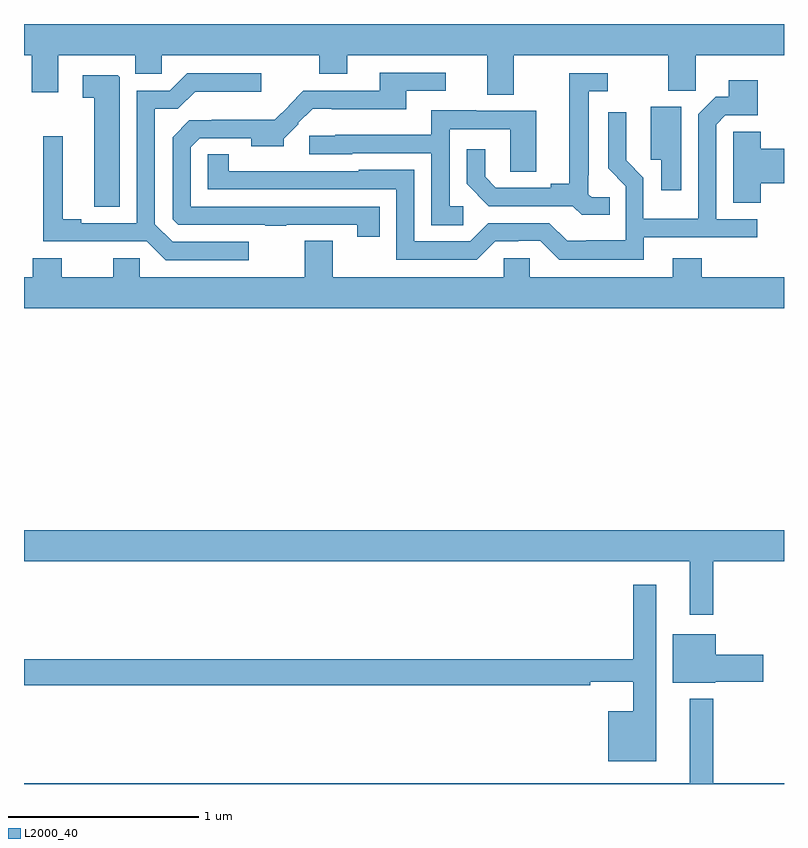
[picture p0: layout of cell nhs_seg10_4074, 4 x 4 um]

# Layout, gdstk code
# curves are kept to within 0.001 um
import gdstk
lib = gdstk.Library(unit=1e-6, precision=1e-09)
def P(c, l, *ps):  # polygons
    for p in ps: c.add(gdstk.Polygon(p, *l))
L2000_40 = (2000, 40)

nhs_seg10_4074 = lib.new_cell('nhs_seg10_4074')
P(nhs_seg10_4074, L2000_40, [(339.577,1280.336),(340.39,1280.336),(340.39,1280.149),(340.536,1280.149),(340.536,1280.336),(341,1280.336),(341,1280.5),(337,1280.5),(337,1280.336),(337.04,1280.336),(337.04,1280.142),(337.18,1280.142),(337.18,1280.336),(337.586,1280.336),(337.586,1280.238),(337.725,1280.238),(337.725,1280.336),(338.554,1280.336),(338.554,1280.237),(338.701,1280.237),(338.701,1280.336),(339.437,1280.336),(339.437,1280.128),(339.577,1280.128)],
  [(338.873,1279.539),(337.878,1279.539),(337.878,1279.851),(337.926,1279.899),(338.195,1279.899),(338.195,1279.856),(338.366,1279.856),(338.366,1279.896),(338.445,1279.974),(338.442,1279.977),(338.519,1280.054),(338.62,1280.054),(338.62,1280.051),(339.013,1280.051),(339.013,1280.148),(339.22,1280.148),(339.22,1280.244),(338.873,1280.244),(338.873,1280.148),(338.469,1280.148),(338.393,1280.071),(338.395,1280.069),(338.321,1279.996),(337.987,1279.996),(337.987,1279.994),(337.871,1279.994),(337.782,1279.905),(337.782,1279.473),(337.812,1279.443),(338.269,1279.443),(338.269,1279.438),(338.381,1279.438),(338.381,1279.443),(338.755,1279.443),(338.755,1279.38),(338.873,1279.38)],
  [(340.082,1279.587),(339.987,1279.587),(339.969,1279.605),(339.969,1279.705),(339.973,1279.705),(339.973,1280.145),(340.072,1280.145),(340.072,1280.241),(339.869,1280.241),(339.869,1279.658),(339.773,1279.658),(339.773,1279.638),(339.484,1279.638),(339.427,1279.695),(339.427,1279.84),(339.33,1279.84),(339.33,1279.658),(339.446,1279.542),(339.888,1279.542),(339.936,1279.495),(340.082,1279.495)],
  [(338.182,1279.353),(337.782,1279.353),(337.689,1279.446),(337.689,1280.053),(337.81,1280.053),(337.901,1280.144),(338.248,1280.144),(338.248,1280.241),(337.86,1280.241),(337.767,1280.148),(337.593,1280.148),(337.593,1279.452),(337.3,1279.452),(337.3,1279.472),(337.204,1279.472),(337.204,1279.909),(337.1,1279.909),(337.1,1279.356),(337.646,1279.356),(337.745,1279.257),(338.182,1279.257)],
  [(337.504,1280.219),(337.494,1280.229),(337.308,1280.229),(337.308,1280.113),(337.37,1280.113),(337.37,1279.537),(337.504,1279.537)],
  [(340.261,1279.377),(340.858,1279.377),(340.858,1279.473),(340.644,1279.473),(340.644,1279.971),(340.692,1280.019),(340.862,1280.019),(340.862,1280.203),(340.709,1280.203),(340.709,1280.118),(340.641,1280.118),(340.548,1280.025),(340.548,1279.474),(340.26,1279.474),(340.26,1279.69),(340.169,1279.782),(340.17,1280.035),(340.074,1280.035),(340.074,1279.74),(340.167,1279.647),(340.167,1279.363),(339.958,1279.363),(339.958,1279.359),(339.858,1279.359),(339.765,1279.452),(339.444,1279.452),(339.348,1279.356),(339.054,1279.356),(339.054,1279.732),(338.763,1279.732),(338.763,1279.725),(338.077,1279.726),(338.077,1279.814),(337.968,1279.814),(337.968,1279.629),(338.958,1279.629),(338.958,1279.26),(339.384,1279.26),(339.48,1279.356),(339.6,1279.356),(339.6,1279.359),(339.717,1279.359),(339.817,1279.259),(340.261,1279.259)],
  [(340.459,1280.064),(340.298,1280.064),(340.298,1279.785),(340.355,1279.785),(340.355,1279.626),(340.459,1279.626)],
  [(339.313,1279.542),(339.24,1279.542),(339.24,1279.947),(339.558,1279.947),(339.558,1279.723),(339.697,1279.723),(339.697,1280.043),(339.379,1280.043),(339.379,1280.047),(339.143,1280.047),(339.143,1279.918),(338.637,1279.918),(338.637,1279.911),(338.502,1279.911),(338.502,1279.815),(338.727,1279.815),(338.727,1279.821),(339.144,1279.821),(339.144,1279.441),(339.313,1279.441)],
  [(340.877,1279.661),(341,1279.661),(341,1279.844),(340.877,1279.844),(340.877,1279.934),(340.734,1279.934),(340.734,1279.826),(340.733,1279.826),(340.733,1279.558),(340.877,1279.558)],
  [(341,1279.168),(340.568,1279.168),(340.568,1279.267),(340.415,1279.267),(340.415,1279.168),(339.663,1279.168),(339.663,1279.266),(339.525,1279.266),(339.525,1279.168),(338.625,1279.168),(338.625,1279.358),(338.477,1279.358),(338.477,1279.168),(337.608,1279.168),(337.608,1279.266),(337.469,1279.266),(337.469,1279.168),(337.198,1279.168),(337.198,1279.267),(337.046,1279.267),(337.046,1279.168),(337,1279.168),(337,1279.004),(341,1279.004)],
  [(340.627,1277.672),(341,1277.672),(341,1277.836),(337,1277.836),(337,1277.672),(340.505,1277.672),(340.505,1277.391),(340.627,1277.391)],
  [(340.327,1277.548),(340.206,1277.548),(340.206,1277.156),(337,1277.156),(337,1277.02),(339.98,1277.02),(339.98,1277.039),(340.206,1277.039),(340.206,1276.882),(340.076,1276.882),(340.076,1276.619),(340.327,1276.619)],
  [(340.638,1277.039),(340.891,1277.039),(340.891,1277.181),(340.642,1277.181),(340.642,1277.287),(340.415,1277.287),(340.415,1277.033),(340.638,1277.033)],
  [(341,1276.504),(340.627,1276.504),(340.627,1276.948),(340.505,1276.948),(340.505,1276.504),(337,1276.504),(337,1276.5),(341,1276.5)])

lib.write_gds('nhs_seg10_4074.gds')
